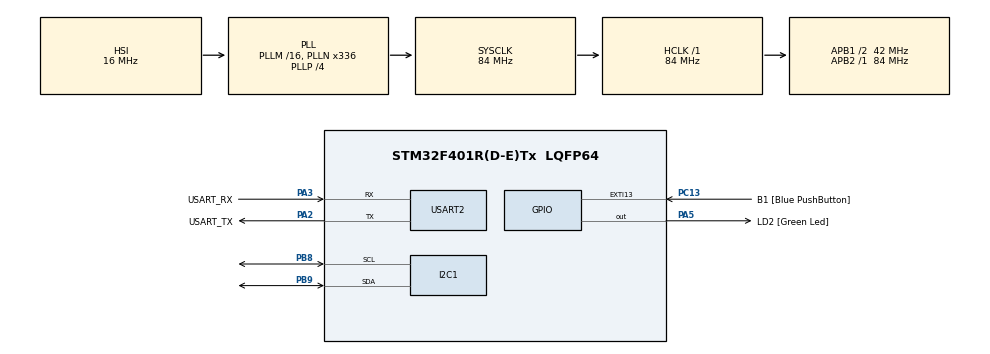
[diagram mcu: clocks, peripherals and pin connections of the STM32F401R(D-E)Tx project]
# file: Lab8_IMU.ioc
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Dma.I2C1_RX.0.Direction=DMA_PERIPH_TO_MEMORY
Dma.I2C1_RX.0.FIFOMode=DMA_FIFOMODE_DISABLE
Dma.I2C1_RX.0.Instance=DMA1_Stream0
Dma.I2C1_RX.0.MemDataAlignment=DMA_MDATAALIGN_BYTE
Dma.I2C1_RX.0.MemInc=DMA_MINC_ENABLE
Dma.I2C1_RX.0.Mode=DMA_NORMAL
Dma.I2C1_RX.0.PeriphDataAlignment=DMA_PDATAALIGN_BYTE
Dma.I2C1_RX.0.PeriphInc=DMA_PINC_DISABLE
Dma.I2C1_RX.0.Priority=DMA_PRIORITY_LOW
Dma.I2C1_TX.1.Direction=DMA_MEMORY_TO_PERIPH
Dma.I2C1_TX.1.FIFOMode=DMA_FIFOMODE_DISABLE
Dma.I2C1_TX.1.Instance=DMA1_Stream7
Dma.I2C1_TX.1.MemDataAlignment=DMA_MDATAALIGN_BYTE
Dma.I2C1_TX.1.MemInc=DMA_MINC_ENABLE
Dma.I2C1_TX.1.Mode=DMA_NORMAL
Dma.I2C1_TX.1.PeriphDataAlignment=DMA_PDATAALIGN_BYTE
Dma.I2C1_TX.1.PeriphInc=DMA_PINC_DISABLE
Dma.I2C1_TX.1.Priority=DMA_PRIORITY_LOW
Dma.Request0=I2C1_RX
Dma.Request1=I2C1_TX
Dma.Request2=USART2_TX
Dma.USART2_TX.2.Direction=DMA_MEMORY_TO_PERIPH
Dma.USART2_TX.2.FIFOMode=DMA_FIFOMODE_DISABLE
Dma.USART2_TX.2.Instance=DMA1_Stream6
Dma.USART2_TX.2.MemDataAlignment=DMA_MDATAALIGN_BYTE
Dma.USART2_TX.2.MemInc=DMA_MINC_ENABLE
Dma.USART2_TX.2.Mode=DMA_NORMAL
Dma.USART2_TX.2.PeriphDataAlignment=DMA_PDATAALIGN_BYTE
Dma.USART2_TX.2.PeriphInc=DMA_PINC_DISABLE
Dma.USART2_TX.2.Priority=DMA_PRIORITY_LOW
Mcu.Family=STM32F4
Mcu.Name=STM32F401R(D-E)Tx
Mcu.Package=LQFP64
NVIC.DMA1_Stream0_IRQn=true\:0\:0\:false\:false\:true\:false\:true\:true
NVIC.DMA1_Stream6_IRQn=true\:0\:0\:false\:false\:true\:false\:true\:true
NVIC.DMA1_Stream7_IRQn=true\:0\:0\:false\:false\:true\:false\:true\:true
NVIC.PriorityGroup=NVIC_PRIORITYGROUP_0
PA13.GPIO_Label=TMS
PA13.Mode=Serial_Wire
PA13.Signal=SYS_JTMS-SWDIO
PA14.GPIO_Label=TCK
PA14.Mode=Serial_Wire
PA14.Signal=SYS_JTCK-SWCLK
PA2.GPIO_Label=USART_TX
PA2.GPIO_Mode=GPIO_MODE_AF_PP
PA2.GPIO_PuPd=GPIO_NOPULL
PA2.GPIO_Speed=GPIO_SPEED_FREQ_LOW
PA2.Mode=Asynchronous
PA2.Signal=USART2_TX
PA3.GPIO_Label=USART_RX
PA3.GPIO_Mode=GPIO_MODE_AF_PP
PA3.GPIO_PuPd=GPIO_NOPULL
PA3.GPIO_Speed=GPIO_SPEED_FREQ_LOW
PA3.Mode=Asynchronous
PA3.Signal=USART2_RX
PA5.GPIO_Label=LD2 [Green Led]
PA5.GPIO_Mode=GPIO_MODE_OUTPUT_PP
PA5.GPIO_PuPd=GPIO_NOPULL
PA5.GPIO_Speed=GPIO_SPEED_FREQ_LOW
PA5.Signal=GPIO_Output
PB3.GPIO_Label=SWO
PB3.Signal=SYS_JTDO-SWO
PB8.Mode=I2C
PB8.Signal=I2C1_SCL
PB9.Mode=I2C
PB9.Signal=I2C1_SDA
PC13-ANTI_TAMP.GPIO_Label=B1 [Blue PushButton]
PC13-ANTI_TAMP.GPIO_ModeDefaultEXTI=GPIO_MODE_IT_FALLING
PC13-ANTI_TAMP.GPIO_PuPd=GPIO_NOPULL
PC13-ANTI_TAMP.Signal=GPXTI13
PC14-OSC32_IN.Mode=LSE-External-Oscillator
PC14-OSC32_IN.Signal=RCC_OSC32_IN
PC15-OSC32_OUT.Mode=LSE-External-Oscillator
PC15-OSC32_OUT.Signal=RCC_OSC32_OUT
PH0\ -\ OSC_IN.Mode=HSE-External-Clock-Source
PH0\ -\ OSC_IN.Signal=RCC_OSC_IN
PH1\ -\ OSC_OUT.Mode=HSE-External-Clock-Source
PH1\ -\ OSC_OUT.Signal=RCC_OSC_OUT
ProjectManager.HeapSize=0x200
ProjectManager.StackSize=0x400
ProjectManager.TargetToolchain=STM32CubeIDE
RCC.48MHZClocksFreq_Value=48000000
RCC.AHBFreq_Value=84000000
RCC.APB1CLKDivider=RCC_HCLK_DIV2
RCC.APB1Freq_Value=42000000
RCC.APB1TimFreq_Value=84000000
RCC.APB2Freq_Value=84000000
RCC.APB2TimFreq_Value=84000000
RCC.CortexFreq_Value=84000000
RCC.HCLKFreq_Value=84000000
RCC.HSE_VALUE=8000000
RCC.HSI_VALUE=16000000
RCC.PLLN=336
RCC.PLLP=RCC_PLLP_DIV4
RCC.PLLQ=7
RCC.SYSCLKFreq_VALUE=84000000
RCC.SYSCLKSource=RCC_SYSCLKSOURCE_PLLCLK
RCC.VCOOutputFreq_Value=336000000
USART2.VirtualMode=VM_ASYNC
board=NUCLEO-F401RE

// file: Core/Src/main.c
/* USER CODE BEGIN Header */
/**
  ******************************************************************************
  * @file           : main.c
  * @brief          : Main program body
  ******************************************************************************
  * @attention
  *
  * Copyright (c) 2024 STMicroelectronics.
  * All rights reserved.
  *
  * This software is licensed under terms that can be found in the LICENSE file
  * in the root directory of this software component.
  * If no LICENSE file comes with this software, it is provided AS-IS.
  *
  ******************************************************************************
  */
/* USER CODE END Header */
#include "main.h"

I2C_HandleTypeDef hi2c1;
DMA_HandleTypeDef hdma_i2c1_rx;
DMA_HandleTypeDef hdma_i2c1_tx;

UART_HandleTypeDef huart2;
DMA_HandleTypeDef hdma_usart2_tx;

/* USER CODE BEGIN PV */
//LIS2DE
uint8_t ACCELL_ADD_W= 0b01010000;
//LIS2DE12
uint8_t LISDE12_ADD_W= 0b00110000;
uint8_t CTRL_REG1[]={0X20, 0b00010111};
uint8_t CTRL_REG2[]={0X21, 0b00000000};
uint8_t CTRL_REG4[]={0X23, 0b00000000};
/* USER CODE END PV */

void SystemClock_Config(void);
static void MX_GPIO_Init(void);
static void MX_DMA_Init(void);
static void MX_USART2_UART_Init(void);
static void MX_I2C1_Init(void);

int main(void)
{

  /* MCU Configuration--------------------------------------------------------*/

  /* Reset of all peripherals, Initializes the Flash interface and the Systick. */
  HAL_Init();

  /* Configure the system clock */
  SystemClock_Config();

  /* Initialize all configured peripherals */
  MX_GPIO_Init();
  MX_DMA_Init();
  MX_USART2_UART_Init();
  MX_I2C1_Init();
  /* USER CODE BEGIN 2 */
char str[64];
int len = 0;

if (HAL_I2C_Master_Transmit(&hi2c1, ACCELL_ADD_W, CTRL_REG1, sizeof(CTRL_REG1), 50 )){
	len=snprintf(str, sizeof(str),"LIS2DE\r\n");
}else{
	if(HAL_I2C_Master_Transmit(&hi2c1, LISDE12_ADD_W, CTRL_REG1, sizeof(CTRL_REG1), 50 )){
		len=snprintf(str, sizeof(str),"LIS2DE12\r\n");
	}else{
		len=snprintf(str, sizeof(str), "Portanuova\r\n");
	}
}
HAL_UART_Transmit(&huart2, str, len, 100);
  /* USER CODE END 2 */

  /* Infinite loop */
  while (1)
  {

  }
}

void SystemClock_Config(void)
{
  RCC_OscInitTypeDef RCC_OscInitStruct = {0};
  RCC_ClkInitTypeDef RCC_ClkInitStruct = {0};

  /** Configure the main internal regulator output voltage
  */
  __HAL_RCC_PWR_CLK_ENABLE();
  __HAL_PWR_VOLTAGESCALING_CONFIG(PWR_REGULATOR_VOLTAGE_SCALE2);

  /** Initializes the RCC Oscillators according to the specified parameters
  * in the RCC_OscInitTypeDef structure.
  */
  RCC_OscInitStruct.OscillatorType = RCC_OSCILLATORTYPE_HSI;
  RCC_OscInitStruct.HSIState = RCC_HSI_ON;
  RCC_OscInitStruct.HSICalibrationValue = RCC_HSICALIBRATION_DEFAULT;
  RCC_OscInitStruct.PLL.PLLState = RCC_PLL_ON;
  RCC_OscInitStruct.PLL.PLLSource = RCC_PLLSOURCE_HSI;
  RCC_OscInitStruct.PLL.PLLM = 16;
  RCC_OscInitStruct.PLL.PLLN = 336;
  RCC_OscInitStruct.PLL.PLLP = RCC_PLLP_DIV4;
  RCC_OscInitStruct.PLL.PLLQ = 7;
  if (HAL_RCC_OscConfig(&RCC_OscInitStruct) != HAL_OK)
  {
    Error_Handler();
  }

  /** Initializes the CPU, AHB and APB buses clocks
  */
  RCC_ClkInitStruct.ClockType = RCC_CLOCKTYPE_HCLK|RCC_CLOCKTYPE_SYSCLK
                              |RCC_CLOCKTYPE_PCLK1|RCC_CLOCKTYPE_PCLK2;
  RCC_ClkInitStruct.SYSCLKSource = RCC_SYSCLKSOURCE_PLLCLK;
  RCC_ClkInitStruct.AHBCLKDivider = RCC_SYSCLK_DIV1;
  RCC_ClkInitStruct.APB1CLKDivider = RCC_HCLK_DIV2;
  RCC_ClkInitStruct.APB2CLKDivider = RCC_HCLK_DIV1;

  if (HAL_RCC_ClockConfig(&RCC_ClkInitStruct, FLASH_LATENCY_2) != HAL_OK)
  {
    Error_Handler();
  }
}

static void MX_I2C1_Init(void)
{

  hi2c1.Instance = I2C1;
  hi2c1.Init.ClockSpeed = 100000;
  hi2c1.Init.DutyCycle = I2C_DUTYCYCLE_2;
  hi2c1.Init.OwnAddress1 = 0;
  hi2c1.Init.AddressingMode = I2C_ADDRESSINGMODE_7BIT;
  hi2c1.Init.DualAddressMode = I2C_DUALADDRESS_DISABLE;
  hi2c1.Init.OwnAddress2 = 0;
  hi2c1.Init.GeneralCallMode = I2C_GENERALCALL_DISABLE;
  hi2c1.Init.NoStretchMode = I2C_NOSTRETCH_DISABLE;
  if (HAL_I2C_Init(&hi2c1) != HAL_OK)
  {
    Error_Handler();
  }

}

static void MX_USART2_UART_Init(void)
{

  huart2.Instance = USART2;
  huart2.Init.BaudRate = 115200;
  huart2.Init.WordLength = UART_WORDLENGTH_8B;
  huart2.Init.StopBits = UART_STOPBITS_1;
  huart2.Init.Parity = UART_PARITY_NONE;
  huart2.Init.Mode = UART_MODE_TX_RX;
  huart2.Init.HwFlowCtl = UART_HWCONTROL_NONE;
  huart2.Init.OverSampling = UART_OVERSAMPLING_16;
  if (HAL_UART_Init(&huart2) != HAL_OK)
  {
    Error_Handler();
  }

}

static void MX_DMA_Init(void)
{

  /* DMA controller clock enable */
  __HAL_RCC_DMA1_CLK_ENABLE();

  /* DMA interrupt init */
  /* DMA1_Stream0_IRQn interrupt configuration */
  HAL_NVIC_SetPriority(DMA1_Stream0_IRQn, 0, 0);
  HAL_NVIC_EnableIRQ(DMA1_Stream0_IRQn);
  /* DMA1_Stream6_IRQn interrupt configuration */
  HAL_NVIC_SetPriority(DMA1_Stream6_IRQn, 0, 0);
  HAL_NVIC_EnableIRQ(DMA1_Stream6_IRQn);
  /* DMA1_Stream7_IRQn interrupt configuration */
  HAL_NVIC_SetPriority(DMA1_Stream7_IRQn, 0, 0);
  HAL_NVIC_EnableIRQ(DMA1_Stream7_IRQn);

}

static void MX_GPIO_Init(void)
{
  GPIO_InitTypeDef GPIO_InitStruct = {0};

  /* GPIO Ports Clock Enable */
  __HAL_RCC_GPIOC_CLK_ENABLE();
  __HAL_RCC_GPIOH_CLK_ENABLE();
  __HAL_RCC_GPIOA_CLK_ENABLE();
  __HAL_RCC_GPIOB_CLK_ENABLE();

  /*Configure GPIO pin Output Level */
  HAL_GPIO_WritePin(LD2_GPIO_Port, LD2_Pin, GPIO_PIN_RESET);

  /*Configure GPIO pin : B1_Pin */
  GPIO_InitStruct.Pin = B1_Pin;
  GPIO_InitStruct.Mode = GPIO_MODE_IT_FALLING;
  GPIO_InitStruct.Pull = GPIO_NOPULL;
  HAL_GPIO_Init(B1_GPIO_Port, &GPIO_InitStruct);

  /*Configure GPIO pin : LD2_Pin */
  GPIO_InitStruct.Pin = LD2_Pin;
  GPIO_InitStruct.Mode = GPIO_MODE_OUTPUT_PP;
  GPIO_InitStruct.Pull = GPIO_NOPULL;
  GPIO_InitStruct.Speed = GPIO_SPEED_FREQ_LOW;
  HAL_GPIO_Init(LD2_GPIO_Port, &GPIO_InitStruct);

}

void Error_Handler(void)
{
  __disable_irq();
  while (1)
  {
  }
}
